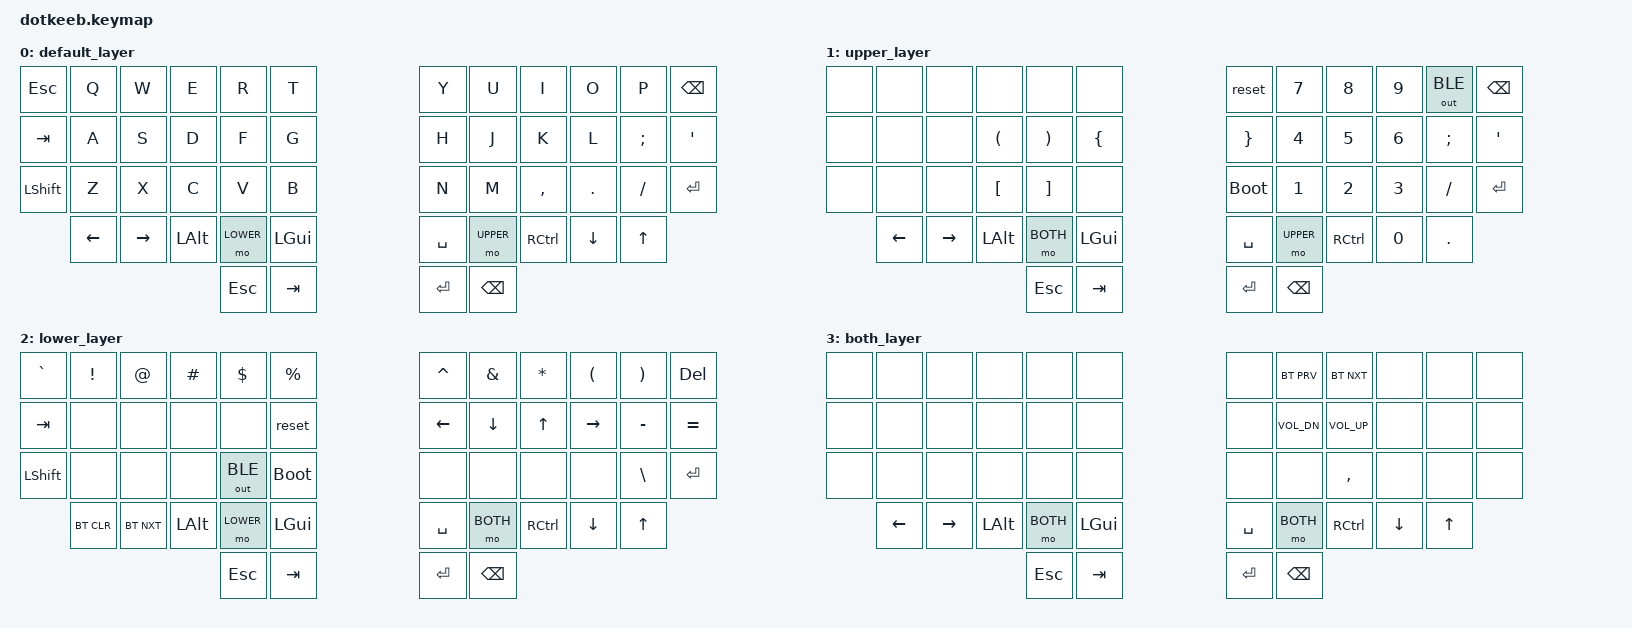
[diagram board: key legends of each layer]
#include <behaviors.dtsi>
#include <dt-bindings/zmk/bt.h>
#include <dt-bindings/zmk/keys.h>
#include <dt-bindings/zmk/outputs.h>

#define DEFUALT 0
#define UPPER 1
#define LOWER 2
#define BOTH 3

/ {
    keymap {
        compatible = "zmk,keymap";

        default_layer {
// --------------------------------------------------------------------------------------------------------------------------------------------------------------------
// |   ESC   |    Q    |    W    |    F    |    P    |    B    |                                          |    Y    |    U    |    I    |    O    |    P    |    \    |
// |   TAB   |    A    |    S    |    D    |    F    |    G    |                                          |    H    |    J    |    K    |    L    |    ;    |    '    |
// |  SHIFT  |    Z    |    X    |    C    |    V    |    B    |                                          |    N    |    M    |    ,    |    .    |    /    |  R CTRL |
//           |   GUI   |   DEL   | RETURN  |  SPACE  | ESCAPE  |                                          |  RETURN |  SPACE  |   TAB   |   BSPC  |  R ALT  |
//                                         |  SPACE  | ESCAPE  |                                          |  RETURN |  SPACE  |
            bindings = <
    &kp ESC    &kp Q    &kp W      &kp E    &kp R     &kp T                                                 &kp Y     &kp U     &kp I     &kp O    &kp P     &kp BSPC
    &kp TAB    &kp A    &kp S      &kp D    &kp F     &kp G                                                 &kp H     &kp J     &kp K     &kp L    &kp SEMI  &kp SQT
    &kp LSHIFT &kp Z    &kp X      &kp C    &kp V     &kp B                                                 &kp N     &kp M     &kp COMMA &kp DOT  &kp FSLH  &kp RET
               &kp LEFT &kp RIGHT  &kp LALT &mo LOWER &kp LGUI                                              &kp SPACE &mo UPPER &kp RCTRL &kp DOWN &kp UP
                                            &kp ESC   &kp TAB                                               &kp RET   &kp BSPC
            >;

        };

        upper_layer {
// --------------------------------------------------------------------------------------------------------------------------------------------------------------------
// |   ESC   |    Q    |    W    |    E    |    R    |    T    |                                          |    Y    |    U    |    I    |    O    |    P    |    \    |
// |   TAB   |    A    |    S    |    D    |    F    |    G    |                                          |    H    |    J    |    K    |    L    |    ;    |    '    |
// |  SHIFT  |    Z    |    X    |    C    |    V    |    B    |                                          |    N    |    M    |    ,    |    .    |    /    |  R CTRL |
//           |   GUI   |   DEL   | RETURN  |  SPACE  | ESCAPE  |                                          |  RETURN |  SPACE  |   TAB   |   BSPC  |  R ALT  |
//                                         |  SPACE  | ESCAPE  |                                          |  RETURN |  SPACE  |
            bindings = <
    &none      &none    &none      &none    &none     &none                                                 &reset      &kp N7    &kp N8    &kp N9   &out OUT_BLE  &kp BSPC
    &none      &none    &none      &kp LPAR &kp RPAR  &kp LBRC                                              &kp RBRC    &kp N4    &kp N5    &kp N6   &kp SEMI  &kp SQT
    &none      &none    &none      &kp LBKT &kp RBKT  &none                                                 &bootloader &kp N1    &kp N2    &kp N3   &kp FSLH  &kp RET
               &kp LEFT &kp RIGHT  &kp LALT &mo BOTH  &kp LGUI                                              &kp SPACE   &mo UPPER &kp RCTRL &kp N0   &kp DOT
                                            &kp ESC   &kp TAB                                               &kp RET   &kp BSPC
            >;

        };


        lower_layer {
// --------------------------------------------------------------------------------------------------------------------------------------------------------------------
// |   ESC   |    Q    |    W    |    E    |    R    |    T    |                                          |    Y    |    U    |    I    |    O    |    P    |    \    |
// |   TAB   |    A    |    S    |    D    |    F    |    G    |                                          |    H    |    J    |    K    |    L    |    ;    |    '    |
// |  SHIFT  |    Z    |    X    |    C    |    V    |    B    |                                          |    N    |    M    |    ,    |    .    |    /    |  R CTRL |
//           |   GUI   |   DEL   | RETURN  |  SPACE  | ESCAPE  |                                          |  RETURN |  SPACE  |   TAB   |   BSPC  |  R ALT  |
//                                         |  SPACE  | ESCAPE  |                                          |  RETURN |  SPACE  |
            bindings = <
    &kp GRAVE  &kp EXCL   &kp AT     &kp HASH &kp DLLR  &kp PRCNT                                           &kp CARET &kp AMPS  &kp STAR  &kp LPAR  &kp RPAR  &kp DEL
    &kp TAB    &none      &none      &none    &none     &reset                                              &kp LEFT  &kp DOWN  &kp UP    &kp RIGHT &kp MINUS &kp EQUAL
    &kp LSHIFT &none      &none      &none    &out OUT_BLE     &bootloader                                         &none     &none     &none     &none     &kp BSLH  &kp RET
               &bt BT_CLR &bt BT_NXT &kp LALT &mo LOWER &kp LGUI                                            &kp SPACE &mo BOTH  &kp RCTRL &kp DOWN  &kp UP
                                              &kp ESC   &kp TAB                                             &kp RET   &kp BSPC
            >;

        };

        both_layer {
// --------------------------------------------------------------------------------------------------------------------------------------------------------------------
// |   ESC   |    Q    |    W    |    E    |    R    |    T    |                                          |    Y    |    U    |    I    |    O    |    P    |    \    |
// |   TAB   |    A    |    S    |    D    |    F    |    G    |                                          |    H    |    J    |    K    |    L    |    ;    |    '    |
// |  SHIFT  |    Z    |    X    |    C    |    V    |    B    |                                          |    N    |    M    |    ,    |    .    |    /    |  R CTRL |
//           |   GUI   |   DEL   | RETURN  |  SPACE  | ESCAPE  |                                          |  RETURN |  SPACE  |   TAB   |   BSPC  |  R ALT  |
//                                         |  SPACE  | ESCAPE  |                                          |  RETURN |  SPACE  |
            bindings = <
    &none       &none      &none    &none      &none     &none                                               &none     &bt BT_PRV   &bt BT_NXT   &none    &none  &none
    &none       &none      &none    &none      &none     &none                                               &none     &kp K_VOL_DN &kp K_VOL_UP &none    &none  &none
    &none       &none      &none    &none      &none     &none                                               &none     &none        &kp COMMA    &none    &none  &none
                &kp LEFT &kp RIGHT  &kp LALT   &mo BOTH  &kp LGUI                                            &kp SPACE &mo BOTH     &kp RCTRL    &kp DOWN &kp UP
                                               &kp ESC   &kp TAB                                             &kp RET   &kp BSPC
            >;

        };
    };
};
